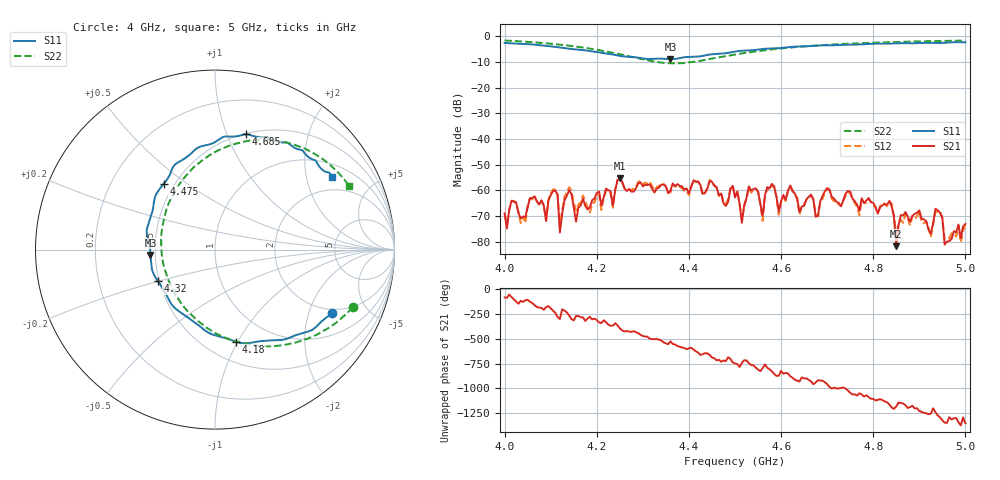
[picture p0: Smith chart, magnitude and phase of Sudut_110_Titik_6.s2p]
# Hz S RI R 50
! CMT, C1220, 16058040, 17.2.0/1
! Date: 15/08/2018 12:10:16
! Data: Format (Calibration Info)
! Freq  S11: Re/Im (F2)  S21: Re/Im (F2)  S12: Re/Im (F2)  S22: Re/Im (F2)
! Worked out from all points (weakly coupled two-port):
!   201 points, 4 GHz to 5 GHz, reference 50 ohm
!   highest |S21| = -55.38 dB at 4.25 GHz (marker M1); lowest = -81.8 dB at 4.85 GHz (marker M2)
!   lowest |S11| = -8.9 dB at 4.36 GHz (marker M3), VSWR 2.13, Z = 23.5 - j1.61 ohm
!   |S11| at or under -10 dB: nowhere
!   |S22| runs from -10.5 to -1.6 dB; largest |S21 - S12| = 0.00018
!   S11 on the Smith chart (normalised r, x): 4 GHz: 1.82, -2.89; 4.18 GHz: 0.69, -0.98; 4.32 GHz: 0.49, -0.20; 4.475 GHz: 0.44, +0.41; 4.685 GHz: 0.51, +1.17; 5 GHz: 1.46, +2.84
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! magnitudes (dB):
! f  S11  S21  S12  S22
! 4 GHz  -2.6  -69.0  -68.7  -1.6
! 4.09 GHz  -3.7  -71.9  -72.0  -2.7
! 4.11 GHz  -4.1  -60.1  -59.8  -3.1
! 4.12 GHz  -4.3  -76.5  -74.3  -3.2
! 4.14 GHz  -4.8  -60.0  -58.8  -3.7
! 4.155 GHz  -5.1  -72.3  -67.8  -4.0
! 4.17 GHz  -5.3  -63.2  -62.0  -4.4
! 4.18 GHz  -5.6  -67.5  -66.4  -4.6
! 4.25 GHz  -7.6  -55.4  -55.5  -7.0
! 4.32 GHz  -8.8  -59.4  -58.4  -9.7
! 4.335 GHz  -8.7  -59.0  -58.4  -10.1
! 4.36 GHz  -8.9  -60.0  -60.8  -10.5
! 4.475 GHz  -6.7  -65.1  -64.8  -7.9
! 4.5 GHz  -5.9  -62.7  -62.8  -7.1
! 4.515 GHz  -5.6  -72.7  -71.7  -6.7
! 4.53 GHz  -5.5  -58.5  -58.9  -6.3
! 4.67 GHz  -3.7  -63.4  -63.5  -3.6
! 4.685 GHz  -3.5  -64.3  -64.8  -3.5
! 4.835 GHz  -2.8  -64.2  -64.2  -2.3
! 4.85 GHz  -2.7  -81.8  -77.9  -2.2
! 4.87 GHz  -2.7  -68.5  -69.3  -2.1
! 5 GHz  -2.3  -73.1  -73.0  -1.6
